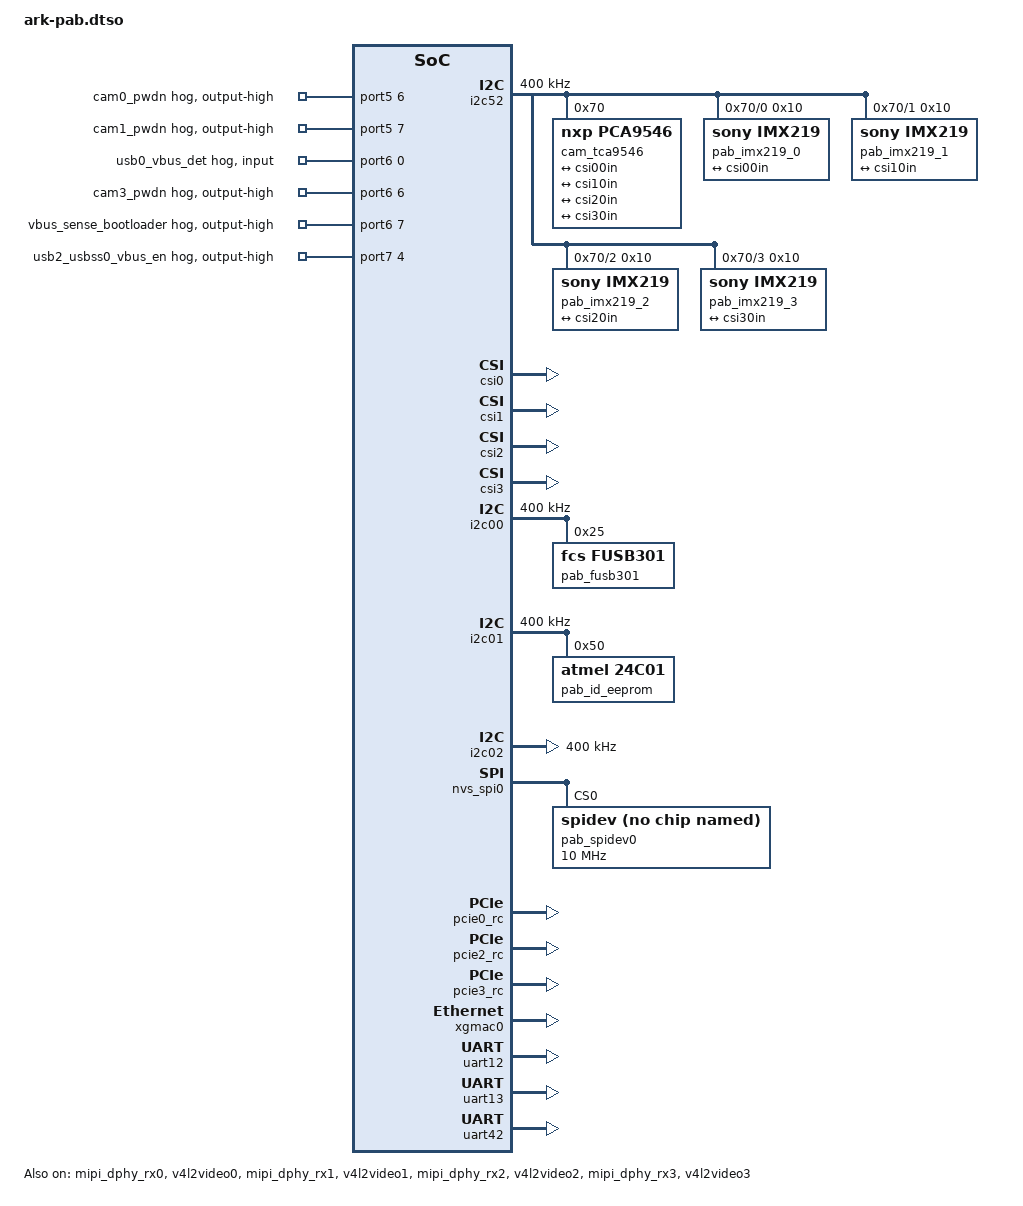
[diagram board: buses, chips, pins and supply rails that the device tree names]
// SPDX-License-Identifier: (GPL-2.0+ OR MIT)
/*
 * ARK Jetson PAB Carrier with SiMa.ai Modalix SoM
 *
 * Cameras (schematic sheet 14 + Jetson PAB IMX219 Quad overlay):
 *   - Shared CAM_I2C → TCA9546APWR @ 0x70 → CAM0..CAM3 @ 0x10
 *   - 4× 2-lane RPi CSI FFCs: CAM0→CSI0, CAM1→CSI1, CAM2→CSI2, CAM3→CSI3
 *   - CAM0/CAM1 PWDN: SiMa dual-cam pattern port5 GPIO6/7 held high
 *   - CAM3_PWDN: SODIMM 130 = GPIO06 = port6 GPIO6 held high
 *   - CAM2_PWDN: SODIMM 112 (Jetson dual-use; rely on carrier 3V3 pull-up)
 *   - Linux: i2c52 = CAM_I2C parent; mux creates channels for each sensor
 *
 * UART (same gold-finger map as JAJ — see docs/bringup-jaj.md):
 *   - UART1 = uart12 = ttyS0 (SoM USB-C FTDI console)
 *   - UART0 = uart42 = ttyS1
 *   - uart13 optional second port on UART1 RTS/CTS pins
 *
 * I2C:
 *   - I2C0: FUSB301 @ 0x25 (Type-C on SoM path)
 *   - I2C1: AT24CSW010 unique ID EEPROM @ 0x50 (PAB schematic)
 *   - CAM_I2C: i2c52 → TCA9546
 *
 * SPI0: dedicated NVS SPI0 (nvs_spi0) → JAJ-style level-shifted SPI header
 *   SODIMM 89/91/93/95/97 @ 1.8 V
 *
 * Known Modalix limits (same as JAJ): no Key E PCIe, no SoM CAN, Mini-DP
 * is Jetson DP (not Modalix HDMI) — see docs.
 */

/dts-v1/;
/plugin/;

&{/} {
	model = "ARK Jetson PAB with SiMa Modalix SoM";
	compatible = "ark,jetson-pab", "simaai,modalix-som", "simaai,modalix";

	pab_xclk0: pab-xclk0 {
		compatible = "fixed-clock";
		#clock-cells = <0>;
		clock-frequency = <24000000>;
		status = "okay";
	};

	pab_xclk1: pab-xclk1 {
		compatible = "fixed-clock";
		#clock-cells = <0>;
		clock-frequency = <24000000>;
		status = "okay";
	};

	pab_xclk2: pab-xclk2 {
		compatible = "fixed-clock";
		#clock-cells = <0>;
		clock-frequency = <24000000>;
		status = "okay";
	};

	pab_xclk3: pab-xclk3 {
		compatible = "fixed-clock";
		#clock-cells = <0>;
		clock-frequency = <24000000>;
		status = "okay";
	};

	ark_pab {
		compatible = "ark,jetson-pab";
		status = "okay";
	};
};

/* ---- Camera PWDN enables ---- */
&port5 {
	cam0-pwdn-en {
		gpio-hog;
		gpios = <6 0>;
		output-high;
		line-name = "cam0_pwdn";
	};

	cam1-pwdn-en {
		gpio-hog;
		gpios = <7 0>;
		output-high;
		line-name = "cam1_pwdn";
	};
};

/*
 * USB0_VBUS_DETn / FUSB INT path — same as JAJ: drop SoM output-low hog and
 * bias the pad so open-drain INT_N can rise.
 */
&{/sio@6/gpio@0x04061000/gpio@0/uart-hog} {
	status = "disabled";
};

&pins_gpio60_deafult {
	bias-pull-up;
	input-enable;
};

&port6 {
	gpio-line-names =
		"usb0_vbus_det",
		"gpio01",
		"gpio02",
		"gpio03",
		"gpio04",
		"gpio05",
		"cam3_pwdn",		/* SODIMM 130 — CAM3_PWDN on PAB */
		"vbus_sense_bl";	/* SODIMM 206 — VBUS_SENSE_BOOTLOADER (FMU USB) */

	usb0-vbus-det-hog {
		gpio-hog;
		gpios = <0 0>;
		input;
		line-name = "usb0_vbus_det";
	};

	cam3-pwdn-en {
		gpio-hog;
		gpios = <6 0>;
		output-high;
		line-name = "cam3_pwdn";
	};

	/*
	 * FMU USB enumerate: PAB wires SODIMM 206 (Modalix GPIO07 = SIO6[7]) to
	 * VBUS_SENSE_BOOTLOADER → level-shift → DF40 VBUS_SENSE on the ARKV6x/V6S.
	 * Jetson MB1 pinmux drives this high at boot; without it the FC never
	 * presents as a USB device (/dev/ttyACM0). Active-high.
	 * See docs/bringup-pab.md and ARK Jetson PAB “Autopilot Connections”.
	 */
	vbus-sense-bootloader-hog {
		gpio-hog;
		gpios = <7 0>;
		output-high;
		line-name = "vbus_sense_bootloader";
	};
};

/*
 * USB-A (J33) VBUS load switch: USB2_USBSS0_VBUS_EN = SODIMM 218 =
 * Modalix GPIO12 = SIO7[4] → AP22615 EN (active-high). Jetson models this as
 * regulator-boot-on; hog high so the port is powered without a USB PHY driver
 * binding a vbus-supply.
 */
&port7 {
	gpio-line-names =
		"gpio08_fan_tach",
		"gpio09_aud_mclk",
		"gpio10",
		"gpio11",
		"usbss0_vbus_en",	/* SODIMM 218 — USB2_USBSS0_VBUS_EN */
		"gpio13",
		"gpio14_fan_pwm",
		"gpio15";

	usbss0-vbus-en-hog {
		gpio-hog;
		gpios = <4 0>;
		output-high;
		line-name = "usb2_usbss0_vbus_en";
	};
};

/* Parent bus for CAM_I2C → TCA9546 */
&i2c52 {
	status = "okay";
	clock-frequency = <400000>;
	#address-cells = <1>;
	#size-cells = <0>;

	/*
	 * TCA9546APWR @ 0x70 (A0–A2 low on PAB). Compatible with pca954x driver
	 * (CONFIG_I2C_MUX_PCA954x=y on linux-simaai).
	 */
	cam_tca9546: i2c-mux@70 {
		compatible = "nxp,pca9546", "ti,tca9546";
		reg = <0x70>;
		#address-cells = <1>;
		#size-cells = <0>;
		i2c-mux,deselect-on-exit;
		status = "okay";

		/* CAM0 — CSI0 / J28 */
		i2c@0 {
			reg = <0>;
			#address-cells = <1>;
			#size-cells = <0>;

			pab_imx219_0: imx219@10 {
				compatible = "sony,imx219";
				reg = <0x10>;
				status = "okay";
				clocks = <&pab_xclk0>;
				clock-names = "xclk";
				rotation = <180>;
				orientation = <2>;

				port {
					pab_cam0_ep: endpoint {
						clock-lanes = <0>;
						data-lanes = <1 2>;
						link-frequencies = /bits/ 64 <456000000>;
						remote-endpoint = <&csi00in>;
						clock-noncontinuous;
					};
				};
			};
		};

		/* CAM1 — CSI1 / J25 */
		i2c@1 {
			reg = <1>;
			#address-cells = <1>;
			#size-cells = <0>;

			pab_imx219_1: imx219@10 {
				compatible = "sony,imx219";
				reg = <0x10>;
				status = "okay";
				clocks = <&pab_xclk1>;
				clock-names = "xclk";
				rotation = <180>;
				orientation = <2>;

				port {
					pab_cam1_ep: endpoint {
						clock-lanes = <0>;
						data-lanes = <1 2>;
						link-frequencies = /bits/ 64 <456000000>;
						remote-endpoint = <&csi10in>;
						clock-noncontinuous;
					};
				};
			};
		};

		/* CAM2 — CSI2 / J29 */
		i2c@2 {
			reg = <2>;
			#address-cells = <1>;
			#size-cells = <0>;

			pab_imx219_2: imx219@10 {
				compatible = "sony,imx219";
				reg = <0x10>;
				status = "okay";
				clocks = <&pab_xclk2>;
				clock-names = "xclk";
				rotation = <180>;
				orientation = <2>;

				port {
					pab_cam2_ep: endpoint {
						clock-lanes = <0>;
						data-lanes = <1 2>;
						link-frequencies = /bits/ 64 <456000000>;
						remote-endpoint = <&csi20in>;
						clock-noncontinuous;
					};
				};
			};
		};

		/* CAM3 — CSI3 / J27 */
		i2c@3 {
			reg = <3>;
			#address-cells = <1>;
			#size-cells = <0>;

			pab_imx219_3: imx219@10 {
				compatible = "sony,imx219";
				reg = <0x10>;
				status = "okay";
				clocks = <&pab_xclk3>;
				clock-names = "xclk";
				rotation = <180>;
				orientation = <2>;

				port {
					pab_cam3_ep: endpoint {
						clock-lanes = <0>;
						data-lanes = <1 2>;
						link-frequencies = /bits/ 64 <456000000>;
						remote-endpoint = <&csi30in>;
						clock-noncontinuous;
					};
				};
			};
		};
	};
};

/* ---- CSI0 (CAM0) + CSI1 (CAM1) + CSI2 (CAM2) + CSI3 (CAM3) ---- */

&csi0 {
	status = "okay";
};

&axi_vdma0 {
	status = "okay";
};

&mipi_dphy_rx0 {
	status = "okay";
};

&v4l2video0 {
	status = "okay";
};

&v4l2vdma0 {
	status = "okay";
};

&csi00in {
	clock-lanes = <0>;
	data-lanes = <1 2>;
	link-frequencies = /bits/ 64 <456000000>;
	remote-endpoint = <&pab_cam0_ep>;
	clock-noncontinuous;
};

&csi1 {
	status = "okay";
};

&axi_vdma1 {
	status = "okay";
};

&mipi_dphy_rx1 {
	status = "okay";
};

&v4l2video1 {
	status = "okay";
};

&v4l2vdma1 {
	status = "okay";
};

&csi10in {
	clock-lanes = <0>;
	data-lanes = <1 2>;
	link-frequencies = /bits/ 64 <456000000>;
	remote-endpoint = <&pab_cam1_ep>;
	clock-noncontinuous;
};

&csi2 {
	status = "okay";
};

&axi_vdma2 {
	status = "okay";
};

&mipi_dphy_rx2 {
	status = "okay";
};

&v4l2video2 {
	status = "okay";
};

&v4l2vdma2 {
	status = "okay";
};

&csi20in {
	clock-lanes = <0>;
	data-lanes = <1 2>;
	link-frequencies = /bits/ 64 <456000000>;
	remote-endpoint = <&pab_cam2_ep>;
	clock-noncontinuous;
};

&csi3 {
	status = "okay";
};

&axi_vdma3 {
	status = "okay";
};

&mipi_dphy_rx3 {
	status = "okay";
};

&v4l2video3 {
	status = "okay";
};

&v4l2vdma3 {
	status = "okay";
};

&csi30in {
	clock-lanes = <0>;
	data-lanes = <1 2>;
	link-frequencies = /bits/ 64 <456000000>;
	remote-endpoint = <&pab_cam3_ep>;
	clock-noncontinuous;
};

/* ---- Host I2C / SPI / UART / PCIe ---- */

&i2c00 {
	status = "okay";
	clock-frequency = <400000>;
	#address-cells = <1>;
	#size-cells = <0>;

	pab_fusb301: fusb301@25 {
		compatible = "fcs,fusb301", "onnn,fusb301";
		reg = <0x25>;
		status = "okay";

		connector {
			compatible = "usb-c-connector";
			label = "USB-C";
			data-role = "dual";
			power-role = "dual";
			try-power-role = "source";
		};
	};
};

&i2c01 {
	status = "okay";
	clock-frequency = <400000>;
	#address-cells = <1>;
	#size-cells = <0>;

	/* PAB unique ID EEPROM (AT24CSW010) — memory @ 0x50, security @ 0x58 */
	pab_id_eeprom: eeprom@50 {
		compatible = "atmel,24c01";
		reg = <0x50>;
		pagesize = <16>;
		size = <128>;
		status = "okay";
	};
};

&i2c02 {
	status = "okay";
	clock-frequency = <400000>;
};

/*
 * Gold-finger SPI0 = NVS SPI0 (not SIO SPI).
 * Same balls as Jetson SPI0; carrier level-shifts to 3.3 V SPI header.
 */
&nvs_spi0 {
	status = "okay";
	#address-cells = <1>;
	#size-cells = <0>;

	pab_spidev0: spidev@0 {
		compatible = "rohm,dh2228fv";
		reg = <0>;
		spi-max-frequency = <10000000>;
		status = "okay";
	};
};

&pcie0_rc {
	status = "okay";
};

&pcie2_rc {
	status = "okay";
};

&pcie3_rc {
	status = "okay";
};

&xgmac0 {
	status = "okay";
};

&uart12 {
	status = "okay";
};

&uart13 {
	status = "okay";
};

&{/aliases} {
	serial0 = "/sio@1/uart@0x0401a000";
	serial1 = "/sio@4/uart@0x0404a000";
	serial2 = "/sio@1/uart@0x0401c000";
};

&uart42 {
	status = "okay";
};
